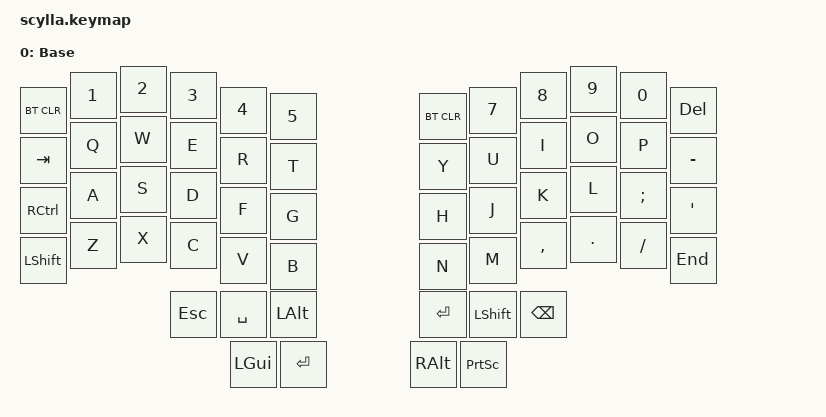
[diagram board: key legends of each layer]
#include <behaviors.dtsi>
#include <dt-bindings/zmk/keys.h>
#include <dt-bindings/zmk/pointing.h>
#include <dt-bindings/zmk/bt.h> // Adicionado para funcionar o &bt

#define BASE 0

/ {
    keymap {
        compatible = "zmk,keymap";

        default_layer {
            display-name = "Base";
            bindings = <
// ╭──────────────────────────┬──────────────────────────╮
// │          ESQUERDA        │          DIREITA         │
// ╰──────────────────────────┴──────────────────────────╯
    &bt BT_CLR &kp N1    &kp N2    &kp N3    &kp N4    &kp N5        &bt BT_CLR &kp N7    &kp N8    &kp N9    &kp N0    &kp DEL
    &kp TAB    &kp Q     &kp W     &kp E     &kp R     &kp T         &kp Y      &kp U     &kp I     &kp O     &kp P     &kp MINUS
    &kp RCTRL  &kp A     &kp S     &kp D     &kp F     &kp G         &kp H      &kp J     &kp K     &kp L     &kp SEMI  &kp SQT
    &kp LSHIFT &kp Z     &kp X     &kp C     &kp V     &kp B         &kp N      &kp M     &kp COMMA &kp DOT   &kp SLASH &kp END
//                          ╭─────────┴─────────┴─────────╮     ╭─────────┴─────────┴─────────╮
                             &kp ESC   &kp SPACE &kp LALT      &kp ENTER  &kp LSHFT  &kp BSPC
//                          ╰─────────┬─────────┬─────────╯     ╰─────────┬─────────┬─────────╯
                                       &kp LGUI  &kp ENTER     &kp RALT   &kp PSCRN
            >;
        };
    };
};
